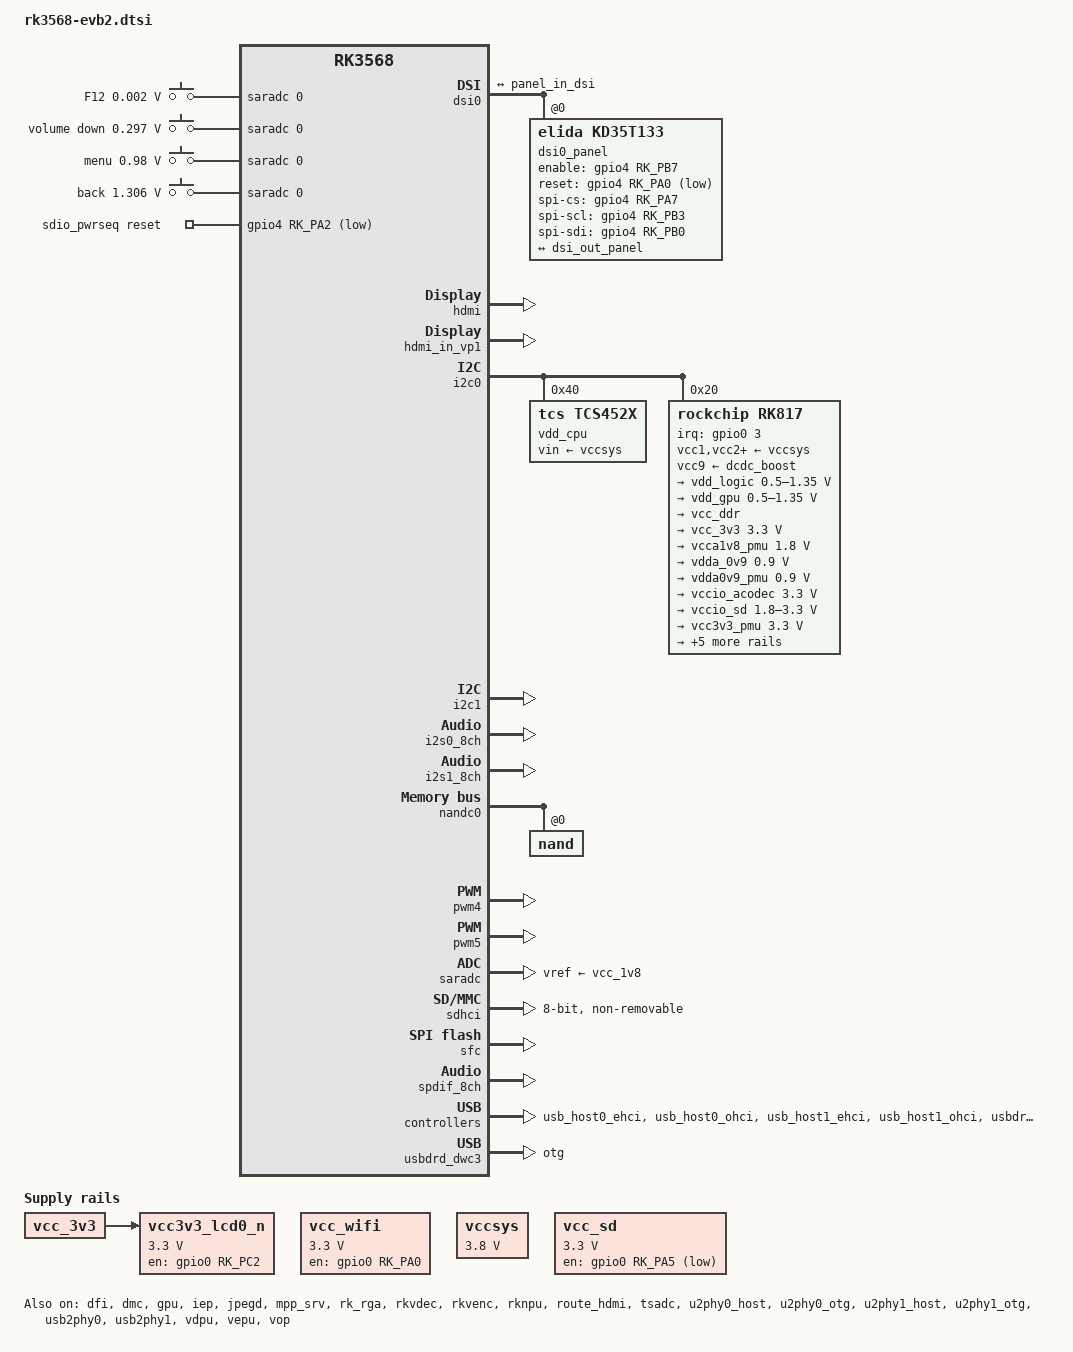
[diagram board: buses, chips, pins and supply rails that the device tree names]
// SPDX-License-Identifier: (GPL-2.0+ OR MIT)
/*
 * Copyright (c) 2020 Rockchip Electronics Co., Ltd.
 *
 */

#include <dt-bindings/gpio/gpio.h>
#include <dt-bindings/pwm/pwm.h>
#include <dt-bindings/pinctrl/rockchip.h>
#include <dt-bindings/input/rk-input.h>
#include <dt-bindings/display/drm_mipi_dsi.h>
#include <dt-bindings/sensor-dev.h>
/ {

	adc_keys: adc-keys {
		compatible = "adc-keys";
		io-channels = <&saradc 0>;
		io-channel-names = "buttons";
		keyup-threshold-microvolt = <1800000>;
		poll-interval = <100>;

		recovery-key {
			label = "F12";
			linux,code = <KEY_F12>;
			press-threshold-microvolt = <1750>;
		};

		vol-down-key {
			label = "volume down";
			linux,code = <KEY_VOLUMEDOWN>;
			press-threshold-microvolt = <297500>;
		};

		menu-key {
			label = "menu";
			linux,code = <KEY_MENU>;
			press-threshold-microvolt = <980000>;
		};

		back-key {
			label = "back";
			linux,code = <KEY_BACK>;
			press-threshold-microvolt = <1305500>;
		};
	};

	audiopwmout_diff: audiopwmout-diff {
		status = "disabled";
		compatible = "simple-audio-card";
		simple-audio-card,format = "i2s";
		simple-audio-card,name = "rockchip,audiopwmout-diff";
		simple-audio-card,mclk-fs = <256>;
		simple-audio-card,bitclock-master = <&master>;
		simple-audio-card,frame-master = <&master>;
		simple-audio-card,cpu {
			sound-dai = <&i2s3_2ch>;
		};
		master: simple-audio-card,codec {
			sound-dai = <&dig_acodec>;
		};
	};

	backlight: backlight {
		compatible = "pwm-backlight";
		pwms = <&pwm4 0 25000 0>;
		brightness-levels = <
			  0   1   2   3   4   5   6   7
			  8   9  10  11  12  13  14  15
			 16  17  18  19  20  21  22  23
			 24  25  26  27  28  29  30  31
			 32  33  34  35  36  37  38  39
			 40  41  42  43  44  45  46  47
			 48  49  50  51  52  53  54  55
			 56  57  58  59  60  61  62  63
			 64  65  66  67  68  69  70  71
			 72  73  74  75  76  77  78  79
			 80  81  82  83  84  85  86  87
			 88  89  90  91  92  93  94  95
			 96  97  98  99 100 101 102 103
			104 105 106 107 108 109 110 111
			112 113 114 115 116 117 118 119
			120 121 122 123 124 125 126 127
			128 129 130 131 132 133 134 135
			136 137 138 139 140 141 142 143
			144 145 146 147 148 149 150 151
			152 153 154 155 156 157 158 159
			160 161 162 163 164 165 166 167
			168 169 170 171 172 173 174 175
			176 177 178 179 180 181 182 183
			184 185 186 187 188 189 190 191
			192 193 194 195 196 197 198 199
			200 201 202 203 204 205 206 207
			208 209 210 211 212 213 214 215
			216 217 218 219 220 221 222 223
			224 225 226 227 228 229 230 231
			232 233 234 235 236 237 238 239
			240 241 242 243 244 245 246 247
			248 249 250 251 252 253 254 255>;
		default-brightness-level = <200>;
		status = "disabled";
	};

	charge-animation {
		compatible = "rockchip,uboot-charge";
		rockchip,uboot-charge-on = <1>; 
		rockchip,android-charge-on = <0>;
		rockchip,uboot-low-power-voltage = <3450>;
		rockchip,screen-on-voltage = <3400>;
		status = "okay";
	};

	hdmi_sound: hdmi-sound {
		compatible = "simple-audio-card";
		simple-audio-card,format = "i2s";
		simple-audio-card,mclk-fs = <128>;
		simple-audio-card,name = "rockchip,hdmi";
		//status = "disabled";
		status = "okay";

		simple-audio-card,cpu {
				sound-dai = <&i2s0_8ch>;
		};
		simple-audio-card,codec {
				sound-dai = <&hdmi>;
		};
	};

	pdmics: dummy-codec {
		status = "disabled";
		compatible = "rockchip,dummy-codec";
		#sound-dai-cells = <0>;
	};

	pdm_mic_array: pdm-mic-array {
		status = "disabled";
		compatible = "simple-audio-card";
		simple-audio-card,name = "rockchip,pdm-mic-array";
		simple-audio-card,cpu {
			sound-dai = <&pdm>;
		};
		simple-audio-card,codec {
			sound-dai = <&pdmics>;
		};
	};
	vcc_wifi: vcc-wifi {
		compatible = "regulator-gpio";
		enable-active-high;
		regulator-always-on;
		regulator-boot-on;		
		enable-gpio = <&gpio0 RK_PA0 GPIO_ACTIVE_HIGH>;
		regulator-min-microvolt = <3300000>;
		regulator-max-microvolt = <3300000>;
		states = <3300000 0x0
			3300000 0x1>;
		pinctrl-names = "default";
		pinctrl-0 = <&vcc_wifi_h>;
		regulator-name = "vcc_wifi";
	};
	rk817-sound {
		status = "okay";
		compatible = "simple-audio-card";
		simple-audio-card,format = "i2s";
		simple-audio-card,name = "rockchip,rk817-codec";
		simple-audio-card,mclk-fs = <256>;

		simple-audio-card,cpu {
			sound-dai = <&i2s1_8ch>;
		};
		simple-audio-card,codec {
			sound-dai = <&rk817_codec>;
		};
	};

	spdif-sound {
		status = "disabled";
		compatible = "simple-audio-card";
		simple-audio-card,name = "ROCKCHIP,SPDIF";
		simple-audio-card,cpu {
				sound-dai = <&spdif_8ch>;
		};
		simple-audio-card,codec {
				sound-dai = <&spdif_out>;
		};
	};

	spdif_out: spdif-out {
			status = "disabled";
			compatible = "linux,spdif-dit";
			#sound-dai-cells = <0>;
	};

	vad_sound: vad-sound {
		status = "disabled";
		compatible = "rockchip,multicodecs-card";
		rockchip,card-name = "rockchip,rk3568-vad";
		rockchip,cpu = <&i2s1_8ch>;
		rockchip,codec = <&rk817_codec>, <&vad>;
	};

	vccsys: vccsys {
		compatible = "regulator-fixed";
		regulator-name = "vcc3v8_sys";
		regulator-always-on;
		regulator-boot-on;
		regulator-min-microvolt = <3800000>;
		regulator-max-microvolt = <3800000>;
	};

	
	vcc3v3_lcd0_n: vcc3v3-lcd0-n {
		compatible = "regulator-fixed";
		regulator-name = "vcc3v3_lcd0_n";
		regulator-boot-on;
		regulator-min-microvolt = <3300000>;
		regulator-max-microvolt = <3300000>;
		enable-active-high;
		gpio = <&gpio0 RK_PC2 GPIO_ACTIVE_HIGH>;
		vin-supply = <&vcc_3v3>;

		regulator-state-mem {
			regulator-off-in-suspend;
		};
	};

	sdio_pwrseq: sdio-pwrseq {
		status = "okay";
		compatible = "mmc-pwrseq-simple";
		clocks = <&rk817 1>;
		clock-names = "ext_clock";
		pinctrl-names = "default";
		pinctrl-0 = <&wifi_enable_h>;

		/*
		 * On the module itself this is one of these (depending
		 * on the actual card populated):
		 * - SDIO_RESET_L_WL_REG_ON
		 * - PDN (power down when low)
		 */
		post-power-on-delay-ms = <200>;
		reset-gpios = <&gpio4 RK_PA2 GPIO_ACTIVE_LOW>;
	};


	vcc_sd: vcc-sd {
		status = "okay";
		compatible = "regulator-gpio";
		enable-active-low;
		enable-gpio = <&gpio0 RK_PA5 GPIO_ACTIVE_LOW>;
		regulator-min-microvolt = <3300000>;
		regulator-max-microvolt = <3300000>;
		pinctrl-names = "default";
		pinctrl-0 = <&vcc_sd_h>;
		regulator-name = "vcc_sd";
		states = <3300000 0x0
			3300000 0x1>;
	};
};

/*
&bus_npu {
	bus-supply = <&vdd_logic>;
	pvtm-supply = <&vdd_cpu>;
	status = "okay";
};*/

&can0 {
	assigned-clocks = <&cru CLK_CAN0>;
	assigned-clock-rates = <150000000>;
	pinctrl-names = "default";
	pinctrl-0 = <&can0m1_pins>;
	status = "disabled";
};

&can1 {
	assigned-clocks = <&cru CLK_CAN1>;
	assigned-clock-rates = <150000000>;
	pinctrl-names = "default";
	pinctrl-0 = <&can1m1_pins>;
	status = "disabled";
};

&can2 {
	assigned-clocks = <&cru CLK_CAN2>;
	assigned-clock-rates = <150000000>;
	pinctrl-names = "default";
	pinctrl-0 = <&can2m1_pins>;
	status = "disabled";
};

&cpu0 {
	cpu-supply = <&vdd_cpu>;
};

&dfi {
	status = "okay";
};

&dmc {
	center-supply = <&vdd_logic>;
	status = "okay";
};

&dsi0 {
	status = "okay";
	//rockchip,lane-rate = <1000>;
	dsi0_panel: panel@0 {
		status = "okay";
		compatible = "elida,kd35t133", "simple-panel-dsi";
		reg = <0>;
		//backlight = <&backlight>;
		//power-supply = <&vcc_lcd>;
		enable-gpios = <&gpio4 RK_PB7 GPIO_ACTIVE_HIGH>;
		reset-gpios = <&gpio4 RK_PA0 GPIO_ACTIVE_LOW>;

		spi-cs-gpios = <&gpio4 RK_PA7 GPIO_ACTIVE_HIGH>;//<&gpio4 RK_PA6 GPIO_ACTIVE_HIGH>;
		spi-scl-gpios = <&gpio4 RK_PB3 GPIO_ACTIVE_HIGH>;     //<&gpio4 RK_PB1 GPIO_ACTIVE_HIGH>;
		spi-sdi-gpios = <&gpio4 RK_PB0 GPIO_ACTIVE_HIGH>;//<&gpio4 RK_PB5 GPIO_ACTIVE_HIGH>;

		pinctrl-names = "default";
		pinctrl-0 = <&lcd_enable_gpio>, <&lcd_rst_gpio>;
		reset-delay-ms = <1>;
		init-delay-ms = <20>; 
		enable-delay-ms = <120>;
		prepare-delay-ms = <2>;
		unprepare-delay-ms = <20>;
		disable-delay-ms = <50>;
		dsi,flags = <(MIPI_DSI_MODE_VIDEO           |
			      MIPI_DSI_MODE_VIDEO_BURST     |
			      MIPI_DSI_MODE_LPM             |
			      MIPI_DSI_MODE_EOT_PACKET)>;
		dsi,format = <MIPI_DSI_FMT_RGB888>;
		dsi,lanes  = <2>;
		rockchip,cmd-type = "spi";
		panel-init-sequence = [
			15 00 03 F0 5A 5A
			15 00 03 F1 5A 5A 
			15 00 02 B0 02
			15 00 02 F3 3B
			39 00 05 F4 33 42 00 08
			39 00 06 F5 00 06 26 35 03
			15 00 02 F6 02
			39 00 0B C6 0B 00 00 3C 00 22 00 00 00 00
			15 00 02 F7 20
			39 00 06 F5 00 06 27 35 03 
			39 00 05 B2 06 06 06 06
			39 00 04 B1 07 00 10  
			39 00 14 F8 7F 7A 89 67 26 38 00 00 09 67 70 88 7A 76 05 09 23 23 23
			05 C8 01 11 
			05 0A 01 29 
			39 00 16 B5 FF EF 35 42 0D D7 FF 07 FF FF FD 00 01 FF 05 12 0F FF FF FF FF
			15 00 02 B4 15 
			15 00 02 B3 00
			39 00 17 F9 01 9F 9F BE CF D7 C9 C2 CB BB E1 E3 DE D6 D0 D3 FA ED E6 2F 00 2F
			15 00 02 F9 00
			15 00 02 26 00
			15 C8 02 B2 12
			05 C8 01 11
			05 0A 01 29
		];

		panel-exit-sequence = [
			05 14 01 28
			05 0A 01 10
		];

		disp_timings0: display-timings {
			native-mode = <&dsi0_timing0>;
			dsi0_timing0: timing0 {
				clock-frequency = <33500000>;
				hactive = <960>;
				vactive = <544>;
				hfront-porch = <10>;
				hsync-len = <2>;
				hback-porch = <10>;
				vfront-porch = <10>;
				vsync-len = <2>;
				vback-porch = <10>;
				hsync-active = <0>;
				vsync-active = <0>;
				de-active = <0>;
				pixelclk-active = <0>;
			};
		};

		ports {
			#address-cells = <1>;
			#size-cells = <0>;

			port@0 {
				reg = <0>;
				panel_in_dsi: endpoint {
					remote-endpoint = <&dsi_out_panel>;
				};
			};
		};
	};

	ports {
		#address-cells = <1>;
		#size-cells = <0>;

		port@1 {
			reg = <1>;
			dsi_out_panel: endpoint {
				remote-endpoint = <&panel_in_dsi>;
			};
		};
	};

};

&gpu {
	mali-supply = <&vdd_gpu>;
	status = "okay";
};

&hdmi {
	status = "okay";
	//status = "disabled";
	rockchip,phy-table =
		<92812500  0x8009 0x0000 0x0270>,
		<165000000 0x800b 0x0000 0x026d>,
		<185625000 0x800b 0x0000 0x01ed>,
		<297000000 0x800b 0x0000 0x01ad>,
		<594000000 0x8029 0x0000 0x0088>,
		<000000000 0x0000 0x0000 0x0000>;
};

&hdmi_in_vp0 {
	status = "disabled";
	//status = "disabled";
};

&hdmi_in_vp1 {
	status = "okay";
};

&hdmi_sound {
	status = "okay";
	//status = "disabled";
};

&i2c0 {
	status = "okay";

	vdd_cpu: tcs4525@40 {
		compatible = "tcs,tcs452x";
		reg = <0x40>;
		vin-supply = <&vccsys>;
		regulator-compatible = "fan53555-reg";
		regulator-name = "vdd_cpu";
		regulator-min-microvolt = <712500>;
		regulator-max-microvolt = <1390000>;
		regulator-init-microvolt = <900000>;
		regulator-ramp-delay = <2300>;
		fcs,suspend-voltage-selector = <1>;
		regulator-boot-on;
		regulator-always-on;
		regulator-state-mem {
			regulator-off-in-suspend;
		};
	};

	rk817: pmic@20 {
		compatible = "rockchip,rk817";
		reg = <0x20>;
		interrupt-parent = <&gpio0>;
		interrupts = <3 IRQ_TYPE_LEVEL_LOW>;

		pinctrl-names = "default", "pmic-sleep",
				"pmic-power-off", "pmic-reset";
		pinctrl-0 = <&pmic_int>;
		pinctrl-1 = <&soc_slppin_slp>, <&rk817_slppin_slp>;
		pinctrl-2 = <&soc_slppin_gpio>, <&rk817_slppin_pwrdn>;
		pinctrl-3 = <&soc_slppin_gpio>, <&rk817_slppin_rst>;

		rockchip,system-power-controller;
		wakeup-source;
		#clock-cells = <1>;
		clock-output-names = "rk808-clkout1", "rk808-clkout2";
		//fb-inner-reg-idxs = <2>;
		/* 1: rst regs (default in codes), 0: rst the pmic */
		pmic-reset-func = <0>;
		/* not save the PMIC_POWER_EN register in uboot */
		not-save-power-en = <1>;

		vcc1-supply = <&vccsys>;
		vcc2-supply = <&vccsys>;
		vcc3-supply = <&vccsys>;
		vcc4-supply = <&vccsys>;
		vcc5-supply = <&vccsys>;
		vcc6-supply = <&vccsys>;
		vcc7-supply = <&vccsys>;
		vcc8-supply = <&vccsys>;
		vcc9-supply = <&dcdc_boost>;

		pwrkey {
			status = "okay";
		};

		pinctrl_rk8xx: pinctrl_rk8xx {
			gpio-controller;
			#gpio-cells = <2>;

			rk817_slppin_null: rk817_slppin_null {
				pins = "gpio_slp";
				function = "pin_fun0";
			};

			rk817_slppin_slp: rk817_slppin_slp {
				pins = "gpio_slp";
				function = "pin_fun1";
			};

			rk817_slppin_pwrdn: rk817_slppin_pwrdn {
				pins = "gpio_slp";
				function = "pin_fun2";
			};

			rk817_slppin_rst: rk817_slppin_rst {
				pins = "gpio_slp";
				function = "pin_fun3";
			};
		};

		regulators {
			vdd_logic: DCDC_REG1 {
				regulator-always-on;
				regulator-boot-on;
				regulator-min-microvolt = <500000>;
				regulator-max-microvolt = <1350000>;
				regulator-init-microvolt = <900000>;
				regulator-ramp-delay = <6001>;
				regulator-initial-mode = <0x2>;
				regulator-name = "vdd_logic";
				regulator-state-mem {
					regulator-off-in-suspend;
					regulator-suspend-microvolt = <900000>;
				};
			};

			vdd_gpu: DCDC_REG2 {
				regulator-always-on;
				regulator-boot-on;
				regulator-min-microvolt = <500000>;
				regulator-max-microvolt = <1350000>;
				regulator-init-microvolt = <900000>;
				regulator-ramp-delay = <6001>;
				regulator-initial-mode = <0x2>;
				regulator-name = "vdd_gpu";
				regulator-state-mem {
					regulator-off-in-suspend;
				};
			};

			vcc_ddr: DCDC_REG3 {
				regulator-always-on;
				regulator-boot-on;
				regulator-initial-mode = <0x2>;
				regulator-name = "vcc_ddr";
				regulator-state-mem {
					regulator-on-in-suspend;
				};
			};

			vcc_3v3: DCDC_REG4 {
				regulator-always-on;
				regulator-boot-on;
				regulator-min-microvolt = <3300000>;
				regulator-max-microvolt = <3300000>;
				regulator-initial-mode = <0x2>;
				regulator-name = "vcc_3v3";
				regulator-state-mem {
					regulator-on-in-suspend;
					regulator-suspend-microvolt = <3300000>;
				};
			};

			vcca1v8_pmu: LDO_REG1 {
				regulator-always-on;
				regulator-boot-on;
				regulator-min-microvolt = <1800000>;
				regulator-max-microvolt = <1800000>;
				regulator-name = "vcca1v8_pmu";
				regulator-state-mem {
					regulator-on-in-suspend;
					regulator-suspend-microvolt = <1800000>;
				};
			};

			vdda_0v9: LDO_REG2 {
				regulator-always-on;
				regulator-boot-on;
				regulator-min-microvolt = <900000>;
				regulator-max-microvolt = <900000>;
				regulator-name = "vdda_0v9";
				regulator-state-mem {
					regulator-off-in-suspend;
				};
			};

			vdda0v9_pmu: LDO_REG3 {
				regulator-always-on;
				regulator-boot-on;
				regulator-min-microvolt = <900000>;
				regulator-max-microvolt = <900000>;
				regulator-name = "vdda0v9_pmu";
				regulator-state-mem {
					regulator-on-in-suspend;
					regulator-suspend-microvolt = <900000>;
				};
			};

			vccio_acodec: LDO_REG4 {
				regulator-always-on;
				regulator-boot-on;
				regulator-min-microvolt = <3300000>;
				regulator-max-microvolt = <3300000>;
				regulator-name = "vccio_acodec";
				regulator-state-mem {
					regulator-off-in-suspend;
				};
			};

			vccio_sd: LDO_REG5 {
				regulator-always-on;
				regulator-boot-on;
				regulator-min-microvolt = <1800000>;
				regulator-max-microvolt = <3300000>;
				regulator-name = "vccio_sd";
				regulator-state-mem {
					regulator-off-in-suspend;
				};
			};

			vcc3v3_pmu: LDO_REG6 {
				regulator-always-on;
				regulator-boot-on;
				regulator-min-microvolt = <3300000>;
				regulator-max-microvolt = <3300000>;
				regulator-name = "vcc3v3_pmu";
				regulator-state-mem {
					regulator-on-in-suspend;
					regulator-suspend-microvolt = <3000000>;
				};
			};

			vcc_1v8: LDO_REG7 {
				regulator-always-on;
				regulator-boot-on;
				regulator-min-microvolt = <1800000>;
				regulator-max-microvolt = <1800000>;
				regulator-name = "vcc_1v8";
				regulator-state-mem {
					regulator-off-in-suspend;
				};
			};

			vcc1v8_dvp: LDO_REG8 {
				regulator-always-on;
				regulator-boot-on;
				regulator-min-microvolt = <1800000>;
				regulator-max-microvolt = <3300000>;
				regulator-name = "vcc1v8_dvp";
				regulator-state-mem {
					regulator-off-in-suspend;
				};
			};

			vcc2v8_dvp: LDO_REG9 {
				regulator-always-on;
				regulator-boot-on;
				regulator-min-microvolt = <2800000>;
				regulator-max-microvolt = <2800000>;
				regulator-name = "vcc2v8_dvp";
				regulator-state-mem {
					regulator-off-in-suspend;
				};
			};

			dcdc_boost: BOOST {
				regulator-always-on;
				regulator-boot-on;
				regulator-min-microvolt = <4700000>;
				regulator-max-microvolt = <5400000>;
				regulator-name = "boost";
				regulator-state-mem {
					regulator-off-in-suspend;
				};
			};

			otg_switch: OTG_SWITCH {
				regulator-name = "otg_switch";
				regulator-state-mem {
					regulator-off-in-suspend;
				};
			};

		};

		battery {
		   compatible = "rk817,battery";
		   ocv_table = <3400 3446 3492 3525 3552 3571 3587 
			     3600 3612 3628 3650 3683 3714 3746
			     3783 3826 3874 3926 3984 4054 4172>;
		   design_capacity = <3472>;
		   design_qmax = <3819>;
		   bat_res = <117>;
		   sleep_enter_current = <300>;
		   sleep_exit_current = <300>;
		   sleep_filter_current = <100>;
		   power_off_thresd = <3400>;
		   zero_algorithm_vol = <3850>;
		   max_soc_offset = <60>;
		   monitor_sec = <5>;
		   sample_res = <10>;
		   virtual_power = <0>;
		};

		charger {
			compatible = "rk817,charger";
			min_input_voltage = <4500>;
			max_input_current = <1800>;
			max_chrg_current = <2000>;
			max_chrg_voltage = <4200>;
			chrg_term_mode = <0>;
			chrg_finish_cur = <300>;
			virtual_power = <0>;
			dc_det_adc = <0>;
			extcon = <&usb2phy0>;
		};

		rk817_codec: codec {
			#sound-dai-cells = <0>;
			compatible = "rockchip,rk817-codec";
			clocks = <&cru I2S1_MCLKOUT>;
			clock-names = "mclk";
			assigned-clocks = <&cru I2S1_MCLKOUT>, <&cru I2S1_MCLK_TX_IOE>;
			assigned-clock-rates = <12288000>;
			assigned-clock-parents = <&cru I2S1_MCLKOUT_TX>, <&cru I2S1_MCLKOUT_TX>;
			pinctrl-names = "default";
			pinctrl-0 = <&i2s1m0_mclk>;
			hp-volume = <20>;
			spk-volume = <3>;
			out-l2spk-r2hp;
			
			spk-ctl-gpios = <&gpio4 RK_PC2 GPIO_ACTIVE_HIGH>;
			status = "okay";
		};
	};
	es8316: es8316@10 {
	        status = "disabled";
		#sound-dai-cells = <0>;
		compatible = "everest,es8316";
		reg = <0x10>;
		clocks = <&cru I2S1_MCLKOUT>;
		clock-names = "mclk";
		assigned-clocks = <&cru I2S1_MCLKOUT>, <&cru I2S1_MCLK_TX_IOE>;
		assigned-clock-rates = <11289600>;
		assigned-clock-parents = <&cru I2S1_MCLKOUT_TX>, <&cru I2S1_MCLKOUT_TX>;
		pinctrl-names = "default";
		pinctrl-0 = <&i2s1m0_mclk>;
		hp-det-gpio = <&gpio4 RK_PC6 GPIO_ACTIVE_HIGH>;		
		spk-con-gpio = <&gpio4 RK_PC2 GPIO_ACTIVE_HIGH>;
	};
};

&i2c1 {
	status = "okay";
};

&i2c5 {
	status = "disabled";
};

&i2s0_8ch {
	status = "okay";
};

&i2s1_8ch {
	status = "okay";
	rockchip,clk-trcm = <1>;
	pinctrl-names = "default";
	pinctrl-0 = <&i2s1m0_sclktx
		     &i2s1m0_lrcktx
		     &i2s1m0_sdi0
		     &i2s1m0_sdo0>;
};

&iep {
	status = "okay";
};

&iep_mmu {
	status = "okay";
};

&jpegd {
	status = "okay";
};

&jpegd_mmu {
	status = "okay";
};

&mpp_srv {
	status = "okay";
};

&nandc0 {
	#address-cells = <1>;
	#size-cells = <0>;
	status = "okay";

	nand@0 {
		reg = <0>;
		nand-bus-width = <8>;
		nand-ecc-mode = "hw";
		nand-ecc-strength = <16>;
		nand-ecc-step-size = <1024>;
	};
};

&pinctrl {
	lcd {
		lcd_rst_gpio: lcd-rst-gpio {
			rockchip,pins = <4 RK_PA0 RK_FUNC_GPIO &pcfg_pull_none>;
			
			
		};

		lcd_enable_gpio: lcd-enable-gpio {
			rockchip,pins = <0 RK_PC2 RK_FUNC_GPIO &pcfg_pull_none>,
					/* spi sdi */
					<4 RK_PB7 RK_FUNC_GPIO &pcfg_pull_none>,
					/* spi scl */
					<4 RK_PB0 RK_FUNC_GPIO &pcfg_pull_none>,
					/* spi cs */
					<4 RK_PB3 RK_FUNC_GPIO &pcfg_pull_none>;	
		};

	};

	pmic {
		pmic_int: pmic_int {
			rockchip,pins =
				<0 RK_PA3 RK_FUNC_GPIO &pcfg_pull_up>;
		};

		soc_slppin_gpio: soc_slppin_gpio {
			rockchip,pins =
				<0 RK_PA2 RK_FUNC_GPIO &pcfg_output_low>;
		};

		soc_slppin_slp: soc_slppin_slp {
			rockchip,pins =
				<0 RK_PA2 1 &pcfg_pull_up>;
		};

		soc_slppin_rst: soc_slppin_rst {
			rockchip,pins =
				<0 RK_PA2 2 &pcfg_pull_none>;
		};
	};

	touch {
		touch_gpio: touch-gpio {
			rockchip,pins =
				<0 RK_PB5 RK_FUNC_GPIO &pcfg_pull_up>,
				<0 RK_PB6 RK_FUNC_GPIO &pcfg_pull_none>;
		};
	};

	vcc-sd {
		vcc_sd_h: vcc-sd-h {
			rockchip,pins = <0 RK_PA5 RK_FUNC_GPIO &pcfg_pull_none>;
		};
	};
};

 /*
  * There are 10 independent IO domains in RK3566/RK3568, including PMUIO[0:2] and VCCIO[1:7].
  * 1/ PMUIO0 and PMUIO1 are fixed-level power domains which cannot be configured;
  * 2/ PMUIO2 and VCCIO1,VCCIO[3:7] domains require that their hardware power supply voltages
  *    must be consistent with the software configuration correspondingly
  *	a/ When the hardware IO level is connected to 1.8V, the software voltage configuration
  *	   should also be configured to 1.8V accordingly;
  *	b/ When the hardware IO level is connected to 3.3V, the software voltage configuration
  *	   should also be configured to 3.3V accordingly;
  * 3/ VCCIO2 voltage control selection (0xFDC20140)
  *	BIT[0]: 0x0: from GPIO_0A7 (default)
  *	BIT[0]: 0x1: from GRF
  *    Default is determined by Pin FLASH_VOL_SEL/GPIO0_A7:
  *	L:VCCIO2 must supply 3.3V
  *	H:VCCIO2 must supply 1.8V
  */
&pmu_io_domains {
	status = "okay";
	pmuio1-supply = <&vcc3v3_pmu>;
	pmuio2-supply = <&vcc3v3_pmu>;
	vccio1-supply = <&vccio_acodec>;
	vccio3-supply = <&vccio_sd>;
	vccio4-supply = <&vcc_1v8>;
	vccio5-supply = <&vcc_3v3>;
	vccio6-supply = <&vcc_1v8>;
	vccio7-supply = <&vcc_3v3>;
};

&pwm4 {
	status = "okay";
};

&pwm5 {
	status = "okay";
};

&rk_rga {
	status = "okay";
};

&rkvdec {
	status = "okay";
};

&rkvdec_mmu {
	status = "okay";
};

&rkvenc {
	venc-supply = <&vdd_logic>;
	status = "okay";
};

&rkvenc_mmu {
	status = "okay";
};

&rknpu {
	rknpu-supply = <&vdd_gpu>;
	status = "okay";
};

&rknpu_mmu {
	status = "okay";
};

&route_hdmi {
	status = "okay";
	connect = <&vp1_out_hdmi>;
};

&saradc {
	status = "okay";
	vref-supply = <&vcc_1v8>;
};

&sdhci {
	bus-width = <8>;
	supports-emmc;
	non-removable;
	max-frequency = <200000000>;
	status = "okay";
};

&sfc {
	status = "okay";
};

&spdif_8ch {
	status = "okay";
};

&tsadc {
	status = "okay";
};

&u2phy0_host {
//	phy-supply = <&vcc5v0_host>;
	status = "okay";
};

&u2phy0_otg {
//	vbus-supply = <&vcc5v0_otg>;
	status = "okay";
};

&u2phy1_host {
//	phy-supply = <&vcc5v0_host>;
	status = "okay";
};

&u2phy1_otg {
//	phy-supply = <&vcc5v0_host>;
	status = "okay";
};

&usb2phy0 {
	status = "okay";
};

&usb2phy1 {
	status = "okay";
};

&usb_host0_ehci {
	status = "okay";
};

&usb_host0_ohci {
	status = "okay";
};

&usb_host1_ehci {
	status = "okay";
};

&usb_host1_ohci {
	status = "okay";
};

&usbdrd_dwc3 {
	dr_mode = "otg";
	extcon = <&usb2phy0>;
	status = "okay";
};

&usbdrd30 {
	status = "okay";
};

&usbhost_dwc3 {
	status = "okay";
};

&usbhost30 {
	status = "okay";
};

&vad {
	rockchip,audio-src = <&i2s1_8ch>;
	rockchip,buffer-time-ms = <128>;
	rockchip,det-channel = <0>;
	rockchip,mode = <0>;
};

&vdpu {
	status = "okay";
};

&vdpu_mmu {
	status = "okay";
};

&vepu {
	status = "okay";
};

&vepu_mmu {
	status = "okay";
};

&vop {
	status = "okay";
	assigned-clocks = <&cru DCLK_VOP0>, <&cru DCLK_VOP1>;
	assigned-clock-parents = <&pmucru PLL_HPLL>, <&cru PLL_VPLL>;
};

&vop_mmu {
	status = "okay";
};
